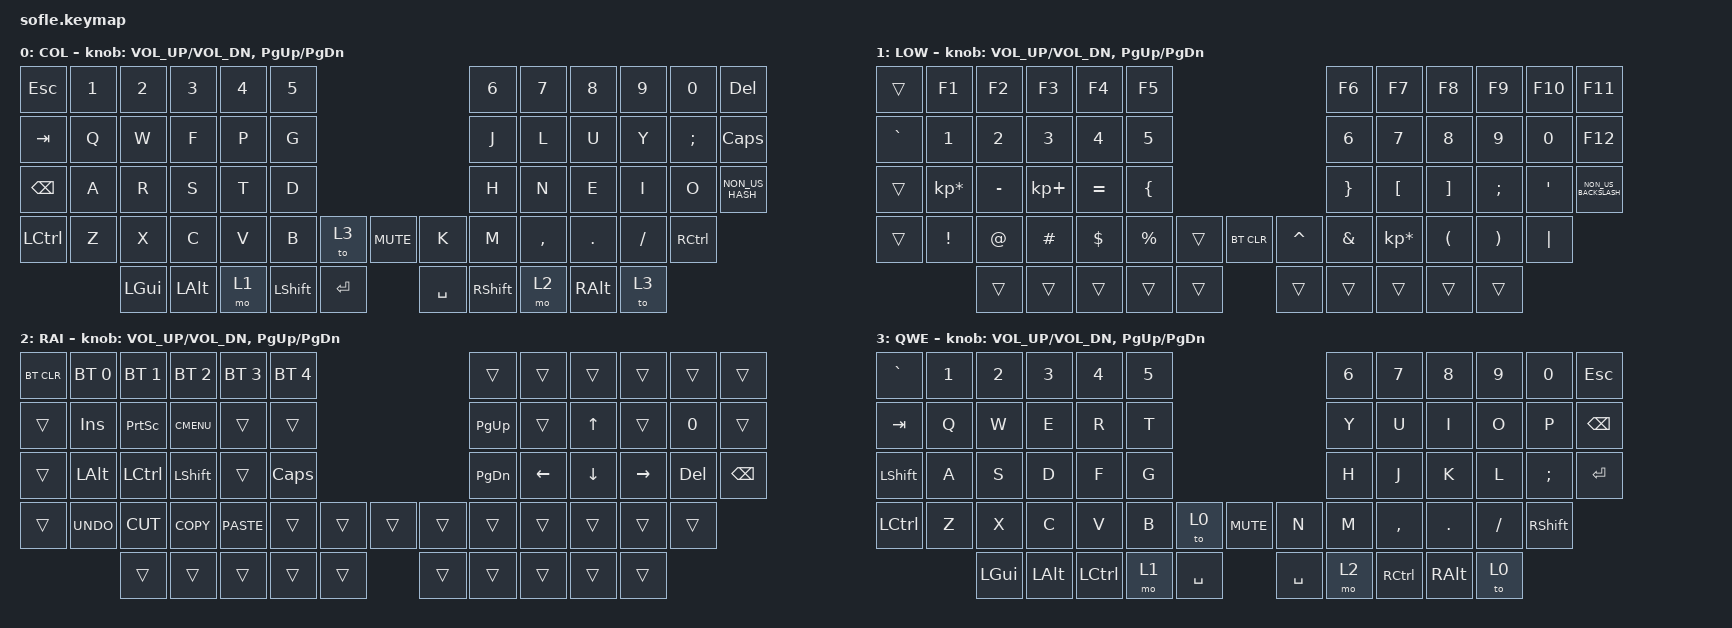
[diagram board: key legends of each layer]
/*
 * Copyright (c) 2020 The ZMK Contributors
 *
 * SPDX-License-Identifier: MIT
 */

#include <behaviors.dtsi>
#include <dt-bindings/zmk/bt.h>
#include <dt-bindings/zmk/ext_power.h>
#include <dt-bindings/zmk/keys.h>

/ {
    keymap {
        compatible = "zmk,keymap";

        colemack_layer{
            display-name = "COL";
            // ------------------------------------------------------------------------------------------------------------
            // |  ESC  |  1  |  2  |  3   |  4   |  5   |                   |  6   |  7    |  8    |  9   |   0   |   DEL |
            // |  TAB  |  Q  |  W  |  F   |  P   |  G   |                   |  J   |  L    |  U    |  Y   |   ;   | CAPS  |
            // | BCPC  |  A  |  R  |  S   |  T   |  D   |                   |  H   |  N    |  E    |  I   |   O   | ENTER  |
            // | CTRL  |  Z  |  X  |  C   |  V   |  B   |  QWERTY  |  | MUTE|  K   |  M    |  ,    |  .   |   /   | CTRL  |
            //               | GUI | ALT  | LOWER| SHIFT|  ENTER |  | SPACE | SHIFT| RAISE | ALT   | QWERTY  |

            bindings = <
&kp ESC   &kp N1 &kp N2   &kp N3   &kp N4    &kp N5                        &kp N6 &kp N7    &kp N8    &kp N9   &kp N0   &kp DEL
&kp TAB   &kp Q  &kp W    &kp F    &kp P     &kp G                         &kp J  &kp L     &kp U     &kp Y    &kp SEMI &kp CLCK
&kp BSPC  &kp A  &kp R    &kp S    &kp T     &kp D                         &kp H  &kp N     &kp E     &kp I    &kp O    &kp NON_US_HASH
&kp LCTRL &kp Z  &kp X    &kp C    &kp V     &kp B &to 3 &kp C_MUTE  &kp K  &kp M     &kp COMMA &kp DOT  &kp FSLH &kp RCTRL
                 &kp LGUI &kp LALT &mo 1 &kp LSHIFT  &kp  ENTER    &kp SPACE &kp RSHIFT &mo 2   &kp RALT  &to 3
            >;

            sensor-bindings = <&inc_dec_kp C_VOL_UP C_VOL_DN &inc_dec_kp PG_UP PG_DN>;
        };

        lower_layer {
            display-name = "LOW";
            // ------------------------------------------------------------------------------------------------------------
            // |       |  F1 |  F2 |  F3  |  F4  |  F5  |                   |  F6  |  F7   |  F8   |  F9  |  F10  |  F11  |
            // | `     |   1 |   2 |   3  |   4  |   5  |                   |   6  |   7   |   8   |   9  |   0   |  F12  |
            // |       |  *  |  -  |  +   |   =  |  {   |                   |   }  |   [   |   ]   |  :   |   at   |       |
            // |       |  !  |  @  |  #   |  $   |  %   |        |  |BT_CLR |  ^   |  &    |  *    |  (   |   )   |   |   |
            //               |     |      |      |      |        |  |       |      |       |       |      |

            bindings = <
&trans    &kp F1    &kp F2    &kp F3      &kp F4    &kp F5                    &kp F6    &kp F7   &kp F8          &kp F9    &kp F10   &kp F11
&kp GRAVE &kp N1    &kp N2    &kp N3      &kp N4    &kp N5                    &kp N6    &kp N7   &kp N8          &kp N9    &kp N0    &kp F12
&trans    &kp KP_MULTIPLY &kp MINUS &kp KP_PLUS &kp EQUAL  &kp LBRC      &kp RBRC  &kp LBKT &kp RBKT  &kp SEMI &kp SQT  &kp NON_US_BACKSLASH
&trans    &kp EXCL  &kp AT    &kp HASH    &kp DLLR  &kp PRCNT  &trans   &bt BT_CLR &kp CARET &kp AMPS &kp KP_MULTIPLY &kp LPAR  &kp RPAR  &kp PIPE
                    &trans    &trans      &trans    &trans    &trans   &trans &trans    &trans   &trans          &trans
            >;

            sensor-bindings = <&inc_dec_kp C_VOL_UP C_VOL_DN &inc_dec_kp PG_UP PG_DN>;
        };

        raise_layer {
            display-name = "RAI";
            // ------------------------------------------------------------------------------------------------------------
            // |BTCLR| BT1  | BT2  |  BT3  |  BT4  |  BT5 |                |      |      |       |      |       |       |
            // |     | INS  | PSCR | GUI   |       |      |                | PGUP |      |   ^   |      |       |       |
            // |     | ALT  | CTRL | SHIFT |       | CAPS |                | PGDN |   <- |   v   |  ->  |  DEL  | BKSPC |
            // |     | UNDO | CUT  | COPY  | PASTE |      |      |  |      |      |      |       |      |       |       |
            //              |      |       |       |      |      |  |      |      |      |       |      |

            bindings = <
&bt BT_CLR &bt BT_SEL 0 &bt BT_SEL 1 &bt BT_SEL 2 &bt BT_SEL 3 &bt BT_SEL 4             &trans    &trans    &trans   &trans    &trans  &trans
&trans     &kp INS      &kp PSCRN    &kp K_CMENU  &trans       &trans                   &kp PG_UP &trans    &kp UP   &trans    &kp N0  &trans
&trans     &kp LALT     &kp LCTRL    &kp LSHFT    &trans       &kp CLCK                 &kp PG_DN &kp LEFT  &kp DOWN &kp RIGHT &kp DEL &kp BSPC
&trans     &kp K_UNDO   &kp K_CUT    &kp K_COPY   &kp K_PASTE  &trans  &trans   &trans  &trans    &trans    &trans   &trans    &trans  &trans
                        &trans       &trans       &trans       &trans  &trans   &trans  &trans    &trans    &trans   &trans
            >;

            sensor-bindings = <&inc_dec_kp C_VOL_UP C_VOL_DN &inc_dec_kp PG_UP PG_DN>;
        };

        QWERTY_layer {
            display-name = "QWE";
            // ------------------------------------------------------------------------------------------------------------
            // |  `    |  1  |  2  |  3   |  4   |  5   |                   |  6   |  7    |  8    |  9   |   0   |       |
            // |  ESC  |  Q  |  W  |  E   |  R   |  T   |                   |  Y   |  U    |  I    |  O   |   P   | BKSPC |
            // |  TAB  |  A  |  S  |  D   |  F   |  G   |                   |  H   |  J    |  K    |  L   |   ;   |   '   |
            // | SHIFT |  Z  |  X  |  C   |  V   |  B   |  MUTE  |  |   clmk    |  N   |  M    |  ,    |  .   |   /   | SHIFT |
            //               | GUI | ALT  | CTRL | LOWER|  SPACE |  | SPACE | RAISE| CTRL  | ALT   | GUI  |

            bindings = <
&kp GRAVE &kp N1 &kp N2   &kp N3   &kp N4    &kp N5                      &kp N6 &kp N7    &kp N8    &kp N9   &kp N0   &kp ESC
&kp TAB   &kp Q  &kp W    &kp E    &kp R     &kp T                       &kp Y  &kp U     &kp I     &kp O    &kp P    &kp BSPC
&kp LSHFT &kp A  &kp S    &kp D    &kp F     &kp G                       &kp H  &kp J     &kp K     &kp L    &kp SEMI &kp ENTER
&kp LCTRL &kp Z  &kp X    &kp C    &kp V     &kp B &to 0 &kp C_MUTE      &kp N  &kp M     &kp COMMA &kp DOT  &kp FSLH &kp RSHFT
                 &kp LGUI &kp LALT &kp LCTRL &mo 1  &kp SPACE    &kp SPACE &mo 2  &kp RCTRL &kp RALT  &to 0
            >;

            sensor-bindings = <&inc_dec_kp C_VOL_UP C_VOL_DN &inc_dec_kp PG_UP PG_DN>;
        };
    };
};
